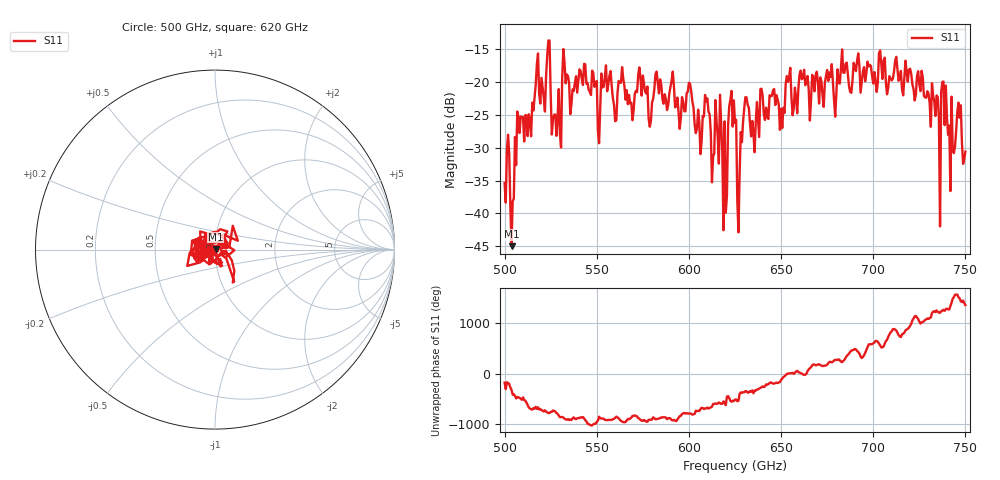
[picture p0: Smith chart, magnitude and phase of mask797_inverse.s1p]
!Created with skrf (http://scikit-rf.org).
# GHz S MA R 50.0
!freq magS11 angS11
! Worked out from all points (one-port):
!   401 points, 500 GHz to 750 GHz, reference 50 ohm
!   lowest |S11| = -45.0 dB at 503.8 GHz (marker M1), VSWR 1.01, Z = 50.4 + j0.365 ohm
!   |S11| at or under -10 dB: start of sweep to end of sweep
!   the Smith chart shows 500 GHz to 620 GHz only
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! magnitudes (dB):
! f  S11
! 500 GHz  -35.4
! 503.8 GHz  -45.0
! 508.1 GHz  -27.7
! 513.8 GHz  -25.9
! 517.5 GHz  -17.3
! 520.6 GHz  -20.9
! 523.8 GHz  -13.6
! 526.9 GHz  -25.0
! 531.2 GHz  -19.3
! 562.5 GHz  -20.1
! 593.8 GHz  -22.3
! 610 GHz  -22.5
! 612.5 GHz  -35.3
! 616.2 GHz  -32.4
! 619.4 GHz  -26.0
! 622.5 GHz  -22.7
! 625 GHz  -26.2
! 627.5 GHz  -34.0
! 631.2 GHz  -22.3
! 635 GHz  -27.8
! 656.2 GHz  -25.0
! 687.5 GHz  -21.5
! 718.8 GHz  -19.9
! 735 GHz  -22.3
! 738.1 GHz  -19.9
! 743.1 GHz  -30.4
! 746.2 GHz  -23.1
! 750 GHz  -30.6
